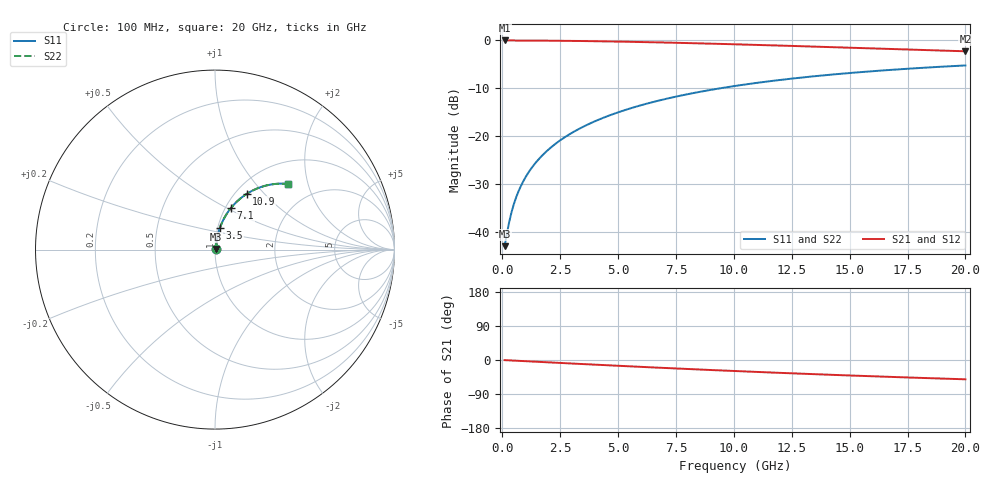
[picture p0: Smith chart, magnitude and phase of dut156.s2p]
! Touchstone file exported from HFSS 2024.1.0
!  File:  C:/UserFiles/LocalFiles/RDL_TSV_Batchsim/temp_RDL_bottom_156_1778697579.aedt
!  Generated:  02:42:47 AM May 14, 2026
!  Design:  RDL_bottom
!  Project:  temp_RDL_bottom_156_1778697579
!  Setup:  Setup1
!  Solution:  Sweep
! Variables:
!  dtsv = 10.80580581um
!  hbump = 3um
!  htsv = 91.03um
!  ldown = 688.6um
!  lrdl = 100um
!  p = 40
!  p1 = 47.36um
!  rhole = 1um
!  t = 450um
!  tdown = 3.67um
!  trdl = 3.915915916um
!  wdown = 10.93um
!  wrdl = 20um
# GHz S MA R 50.000000
! Terminal data exported
! Port[1] = RDL1_T1
! Port[2] = RDL1_T2
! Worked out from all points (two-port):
!   200 points, 100 MHz to 20 GHz, reference 50 ohm
!   highest |S21| = -0.05 dB at 100 MHz (marker M1); lowest = -2.3 dB at 20 GHz (marker M2)
!   |S21| within 3 dB of the highest: start of sweep to end of sweep
!   lowest |S11| = -42.9 dB at 100 MHz (marker M3), VSWR 1.01, Z = 50.6 + j0.377 ohm
!   |S11| at or under -10 dB: start of sweep to 9.439 GHz
!   |S22| runs from -42.9 to -5.3 dB; largest |S21 - S12| = 3.3e-15
!   S11 on the Smith chart (normalised r, x): 100 MHz: 1.01, +0.01; 3.5 GHz: 1.03, +0.26; 7.1 GHz: 1.06, +0.52; 10.9 GHz: 1.13, +0.80; 20 GHz: 1.44, +1.50
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0.1  0.007134 31.5  0.9939 -0.3  0.9939 -0.3  0.007134 31.5
! Gamma 0 0 0 0
! Port Impedance 50 0 50 0
0.3  0.01281 60.2  0.9937 -1.0  0.9937 -1.0  0.01281 60.2
0.4  0.01616 66.0  0.9935 -1.3  0.9935 -1.3  0.01616 66.0
0.5  0.0196 69.6  0.9933 -1.6  0.9933 -1.6  0.0196 69.6
0.6  0.02308 72.1  0.9931 -1.9  0.9931 -1.9  0.02308 72.1
0.8  0.03011 75.1  0.9927 -2.5  0.9927 -2.5  0.03011 75.1
1.1  0.04072 77.5  0.9919 -3.5  0.9919 -3.5  0.04072 77.5
1.5  0.05493 78.7  0.9907 -4.7  0.9907 -4.7  0.05493 78.7
1.8  0.0656 79.0  0.9896 -5.6  0.9896 -5.6  0.0656 79.0
2.1  0.07626 79.0  0.9883 -6.5  0.9883 -6.5  0.07626 79.0
2.7  0.0975 78.5  0.9853 -8.4  0.9853 -8.4  0.0975 78.5
3.5  0.1256 77.2  0.9801 -10.8  0.9801 -10.8  0.1256 77.2
4.2  0.1498 75.8  0.9748 -12.9  0.9748 -12.9  0.1498 75.8
5  0.1771 74.1  0.9676 -15.3  0.9676 -15.3  0.177 74.1
6.8  0.2362 69.9  0.9485 -20.4  0.9485 -20.4  0.2362 69.9
7.1  0.2457 69.2  0.945 -21.3  0.945 -21.3  0.2457 69.2
8.5  0.2887 65.9  0.9275 -25.1  0.9275 -25.1  0.2887 65.9
10.1  0.3349 62.2  0.9059 -29.3  0.9059 -29.3  0.3349 62.2
10.9  0.3567 60.4  0.8947 -31.3  0.8947 -31.3  0.3567 60.4
13.4  0.4193 54.9  0.8587 -37.3  0.8587 -37.3  0.4193 54.9
16.7  0.4892 48.2  0.8113 -44.5  0.8113 -44.5  0.4892 48.2
20  0.5457 42.1  0.7663 -50.9  0.7663 -50.9  0.5457 42.1
